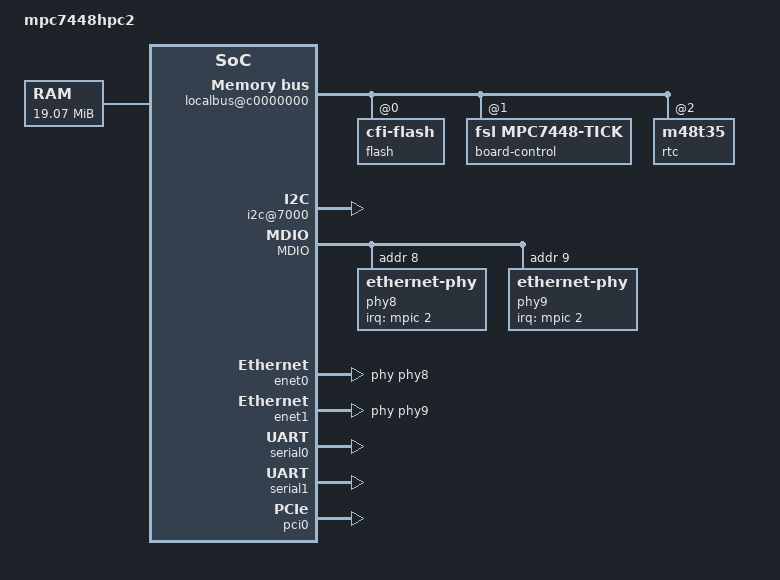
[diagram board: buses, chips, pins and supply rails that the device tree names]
/*
 * MPC7448HPC2 (Taiga) board Device Tree Source
 *
 * Copyright 2006 Freescale Semiconductor Inc.
 * 2006 Roy Zang <Roy Zang at freescale.com>.
 *
 * This program is free software; you can redistribute  it and/or modify it
 * under  the terms of  the GNU General  Public License as published by the
 * Free Software Foundation;  either version 2 of the  License, or (at your
 * option) any later version.
 */


/ {
	model = "mpc7448hpc2";
	compatible = "mpc74xx";
	#address-cells = <1>;
	#size-cells = <1>;

	aliases {
		ethernet0 = &enet0;
		ethernet1 = &enet1;

		serial0 = &serial0;
		serial1 = &serial1;

		pci0 = &pci0;
	};

	cpus {
		#address-cells = <1>;
		#size-cells =<0>;
				
		PowerPC,7448@0 {
			device_type = "cpu";
			reg = <0>;
			d-cache-line-size = <20>;	// 32 bytes
			i-cache-line-size = <20>;	// 32 bytes
			d-cache-size = <8000>;		// L1, 32K bytes
			i-cache-size = <8000>;		// L1, 32K bytes
			timebase-frequency = <0>;	// 33 MHz, from uboot
			clock-frequency = <0>;		// From U-Boot
			bus-frequency = <0>;		// From U-Boot
		};
	};

	memory {
		device_type = "memory";
		reg = <00000000 20000000	// DDR2   512M at 0
		       >;
	};

	localbus@c0000000 {
		compatible = "tundra,tsi108-localbus",
				"simple-bus";
		#address-cells = <2>;
		#size-cells = <1>;
		reg = <c0000000 1000>;
		interrupts = <13 2>;
		interrupt-parent = <&mpic>;

		ranges = <0 0 ff000000 01000000		/* FLASH */
			  1 0 fd000000 01000000		/* 'TICK' FPGA */
			  2 0 fc000000 00100000		/* RTC + NVRAM */
			  3 0 fe000000 01000000>;	/* PROMJET */

		flash@0,0 {
			compatible = "cfi-flash";
			reg = <0 0 01000000>;
			bank-width = <4>;
			device-width = <2>;
			#address-cells = <1>;
			#size-cells = <1>;
			firmwarea@0 {
				label = "Firmware A";
				reg = <0 00040000>;
				read-only;
			};
			devicetreea@00040000 {
				label = "Device Tree A";
				reg = <00040000 00020000>;
			};
			ramdiska@00060000 {
				label = "Ram Disk A";
				reg = <00060000 005a0000>;
			};
			kernela@00600000 {
				label = "Kernel A";
				reg = <00600000 00200000>;
			};
			firmwareb@00800000 {
				label = "Firmware B";
				reg = <00800000 00040000>;
				read-only;
			};
			devicetreeb@00840000 {
				label = "Device Tree B";
				reg = <00840000 00020000>;
			};
			ramdiskb@00860000 {
				label = "Ram Disk B";
				reg = <00860000 005a0000>;
			};
			kernelb@00e00000 {
				label = "Kernel B";
				reg = <00e00000 00200000>;
			};
		};
		board-control@1,0 {
			reg = <1 0 80>;
			compatible = "fsl,mpc7448-tick";
		};
		rtc@2,0 {
			compatible = "m48t35";
			reg = <2 0 8000>;
		};
	};

  	tsi108@c0000000 {
		#address-cells = <1>;
		#size-cells = <1>;
		device_type = "tsi-bridge";
		ranges = <00000000 c0000000 00010000>;
		reg = <c0000000 00010000>;
		bus-frequency = <0>;

		i2c@7000 {
			interrupt-parent = <&mpic>;
			interrupts = <E 0>;
			reg = <7000 400>;
			device_type = "i2c";
			compatible  = "tsi108-i2c";
		};

		MDIO: mdio@6000 {
			device_type = "mdio";
			compatible = "tsi108-mdio";
			reg = <6000 50>;
			#address-cells = <1>;
			#size-cells = <0>;

			phy8: ethernet-phy@8 {
				interrupt-parent = <&mpic>;
				interrupts = <2 1>;
				reg = <8>;
			};

			phy9: ethernet-phy@9 {
				interrupt-parent = <&mpic>;
				interrupts = <2 1>;
				reg = <9>;
			};

		};

		enet0: ethernet@6200 {
			device_type = "network";
			compatible = "tsi108-ethernet";
			reg = <6000 200>;
			mac-address = [ 00 00 00 00 00 00 ];
			local-mac-address = [ 00 00 00 00 00 00 ];
			interrupts = <10 2>;
			interrupt-parent = <&mpic>;
			mdio-handle = <&MDIO>;
			phy-handle = <&phy8>;
		};

		enet1: ethernet@6600 {
			device_type = "network";
			compatible = "tsi108-ethernet";
			reg = <6400 200>;
			mac-address = [ 00 00 00 00 00 00 ];
			local-mac-address = [ 00 00 00 00 00 00 ];
			interrupts = <11 2>;
			interrupt-parent = <&mpic>;
			mdio-handle = <&MDIO>;
			phy-handle = <&phy9>;
		};

		serial0: serial@7808 {
			device_type = "serial";
			compatible = "ns16550";
			reg = <7808 200>;
			clock-frequency = <3f6b5a00>;
			interrupts = <c 0>;
			interrupt-parent = <&mpic>;
		};

		serial1: serial@7c08 {
			device_type = "serial";
			compatible = "ns16550";
			reg = <7c08 200>;
			clock-frequency = <3f6b5a00>;
			interrupts = <d 0>;
			interrupt-parent = <&mpic>;
		};

	  	mpic: pic@7400 {
			clock-frequency = <0>;
			interrupt-controller;
			#address-cells = <0>;
			#interrupt-cells = <2>;
			reg = <7400 400>;
			compatible = "chrp,open-pic";
			device_type = "open-pic";
                       	big-endian;
		};
	};
	pci0: pci@c0001000 {
		compatible = "tsi108-pci";
		device_type = "pci";
		#interrupt-cells = <1>;
		#size-cells = <2>;
		#address-cells = <3>;
		reg = <1000 1000>;
		bus-range = <0 0>;
		ranges = <02000000 0 e0000000 e0000000 0 1A000000
			  01000000 0 00000000 fa000000 0 00010000>;
		clock-frequency = <7f28154>;
		interrupt-parent = <&mpic>;
		interrupts = <17 2>;
		interrupt-map-mask = <f800 0 0 7>;
		interrupt-map = <

			/* IDSEL 0x11 */
			0800 0 0 1 &RT0 24 0
			0800 0 0 2 &RT0 25 0
			0800 0 0 3 &RT0 26 0
			0800 0 0 4 &RT0 27 0

			/* IDSEL 0x12 */
			1000 0 0 1 &RT0 25 0
			1000 0 0 2 &RT0 26 0
			1000 0 0 3 &RT0 27 0
			1000 0 0 4 &RT0 24 0

			/* IDSEL 0x13 */
			1800 0 0 1 &RT0 26 0
			1800 0 0 2 &RT0 27 0
			1800 0 0 3 &RT0 24 0
			1800 0 0 4 &RT0 25 0

			/* IDSEL 0x14 */
			2000 0 0 1 &RT0 27 0
			2000 0 0 2 &RT0 24 0
			2000 0 0 3 &RT0 25 0
			2000 0 0 4 &RT0 26 0
			>;

		RT0: router@1180 {
			clock-frequency = <0>;
			interrupt-controller;
			device_type = "pic-router";
			#address-cells = <0>;
			#interrupt-cells = <2>;
			big-endian;
			interrupts = <17 2>;
			interrupt-parent = <&mpic>;
		};
	};
};
